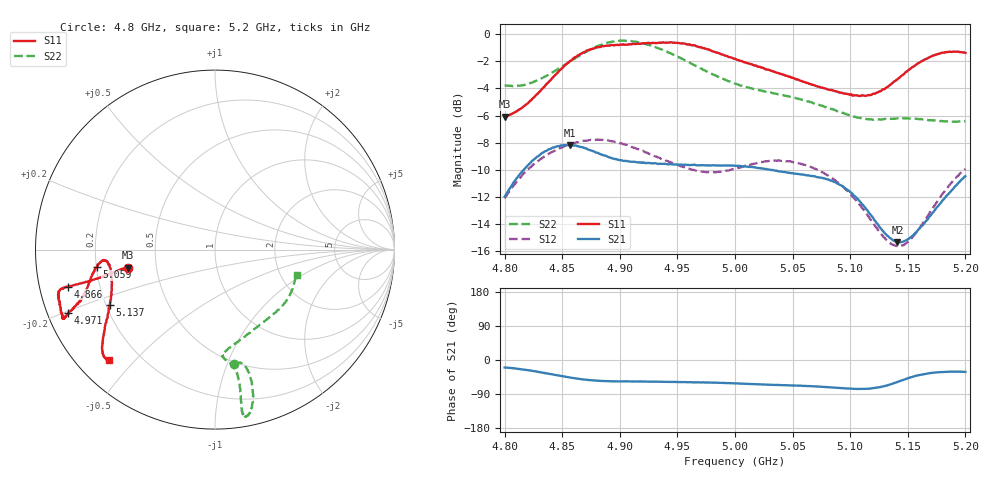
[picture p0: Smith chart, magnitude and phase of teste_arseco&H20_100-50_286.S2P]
! Network Analyzer HP8722D
! Hewlett-Packard
! Data name: Linha & Wilkinson
! Saver's name: Rodrigo Anjos
! Comments: Teste da utilização de aquisição
! continua pelo VNA HP8722D
! Time and date: 6/5/2025 14:57
!  Frequency  S11  S21  S12  S22
# HZ  S  MA R 50
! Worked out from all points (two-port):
!   401 points, 4.8 GHz to 5.2 GHz, reference 50 ohm
!   highest |S21| = -8.16 dB at 4.857 GHz (marker M1); lowest = -15.3 dB at 5.141 GHz (marker M2)
!   |S21| within 3 dB of the highest: 4.806 GHz to 5.093 GHz (286.5 MHz wide, 5.79 % of centre); 5.191779 GHz to end of sweep
!   lowest |S11| = -6.1 dB at 4.8 GHz (marker M3), VSWR 2.97, Z = 17 - j4.57 ohm
!   |S11| at or under -10 dB: nowhere
!   |S22| runs from -6.5 to -0.5 dB; largest |S21 - S12| = 0.62
!   S11 on the Smith chart (normalised r, x): 4.8 GHz: 0.34, -0.09; 4.866 GHz: 0.09, -0.12; 4.971 GHz: 0.06, -0.21; 5.059 GHz: 0.20, -0.07; 5.137 GHz: 0.22, -0.24; 5.2 GHz: 0.09, -0.43
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4.8e9  0.4968 -168.2  0.2521 -19.7  0.2485 -141.0  0.6472 -80.3
4.83e9  0.6112 -166.8  0.3575 -31.8  0.3433 -145.2  0.6798 -75.2
4.857e9  0.7963 -165.9  0.3907 -46.4  0.3929 -150.3  0.7926 -74.8
4.866e9  0.8442 -165.9  0.384 -50.3  0.4022 -151.9  0.8371 -75.3
4.867e9  0.848 -165.9  0.3838 -50.8  0.4026 -152.0  0.8423 -75.5
4.88e9  0.8925 -165.5  0.3657 -54.5  0.4088 -154.1  0.8997 -76.7
4.9e9  0.9128 -162.7  0.3432 -56.3  0.3963 -156.5  0.9437 -79.2
4.934e9  0.9271 -156.4  0.3331 -57.5  0.3509 -155.6  0.8834 -80.4
4.971e9  0.8906 -156.5  0.3288 -59.3  0.3118 -146.5  0.7456 -79.6
5e9  0.8102 -159.1  0.3274 -61.7  0.3195 -137.2  0.6566 -81.2
5.032e9  0.7313 -164.6  0.3158 -65.5  0.3421 -134.1  0.6068 -85.4
5.059e9  0.6674 -171.5  0.3041 -68.2  0.3311 -136.0  0.572 -84.5
5.067e9  0.6502 -173.1  0.3004 -69.1  0.3232 -136.7  0.5588 -82.6
5.083e9  0.6214 -174.5  0.2886 -72.2  0.297 -138.2  0.5305 -76.8
5.101e9  0.6003 -172.0  0.2607 -75.8  0.2555 -138.8  0.4996 -66.6
5.116e9  0.5958 -165.4  0.2208 -75.9  0.2125 -135.5  0.4857 -55.8
5.134e9  0.6462 -154.2  0.1784 -65.3  0.1705 -120.8  0.4874 -43.3
5.137e9  0.6614 -152.3  0.1743 -62.1  0.168 -116.9  0.4879 -41.5
5.141e9  0.6818 -150.2  0.1713 -57.8  0.1658 -111.7  0.4886 -39.1
5.154e9  0.7551 -144.4  0.1811 -44.4  0.179 -95.0  0.4881 -32.3
5.172e9  0.8334 -139.1  0.2209 -33.5  0.23 -81.1  0.4806 -24.5
5.2e9  0.8521 -133.6  0.2999 -31.4  0.3193 -76.8  0.4774 -17.5
